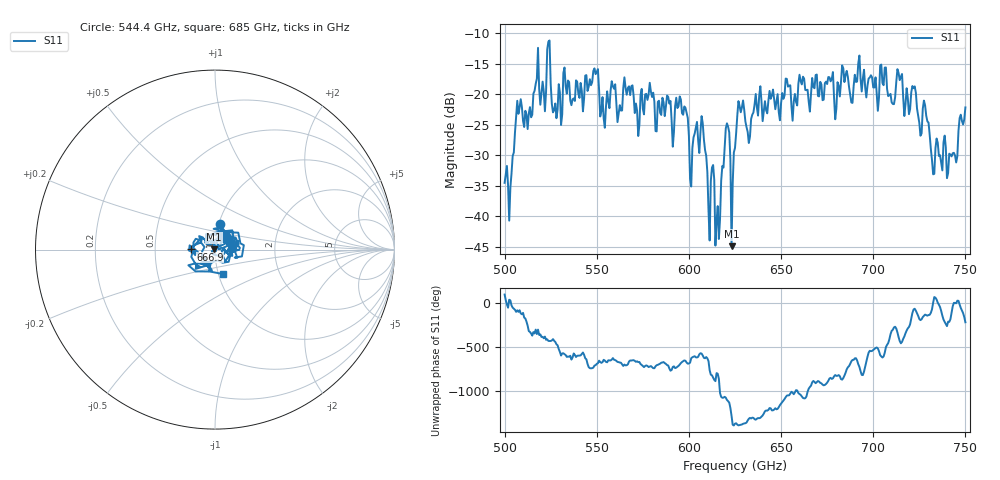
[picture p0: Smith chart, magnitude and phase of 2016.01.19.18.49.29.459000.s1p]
!Created with skrf (http://scikit-rf.org).
# GHz S RI R 50.0
!freq ReS11 ImS11
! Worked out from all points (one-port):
!   401 points, 500 GHz to 750 GHz, reference 50 ohm
!   lowest |S11| = -44.9 dB at 623.1 GHz (marker M1), VSWR 1.01, Z = 49.5 + j0.176 ohm
!   |S11| at or under -10 dB: start of sweep to end of sweep
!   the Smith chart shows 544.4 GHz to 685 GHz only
!   S11 on the Smith chart (normalised r, x): 544.4 GHz: 1.01, +0.29; 666.9 GHz: 0.76, +0.00; 685 GHz: 1.05, -0.29
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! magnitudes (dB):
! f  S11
! 500 GHz  -34.5
! 503.1 GHz  -35.3
! 507.5 GHz  -23.2
! 513.8 GHz  -22.1
! 516.9 GHz  -18.3
! 523.8 GHz  -11.4
! 531.2 GHz  -23.3
! 544.4 GHz  -16.9
! 562.5 GHz  -21.8
! 593.8 GHz  -22.3
! 601.2 GHz  -35.1
! 607.5 GHz  -24.8
! 615.6 GHz  -38.4
! 620.6 GHz  -24.8
! 623.1 GHz  -44.9
! 625 GHz  -28.8
! 628.1 GHz  -23.0
! 631.9 GHz  -26.2
! 656.2 GHz  -24.4
! 666.9 GHz  -17.4
! 685 GHz  -16.9
! 687.5 GHz  -20.1
! 714.4 GHz  -17.7
! 718.8 GHz  -20.6
! 728.1 GHz  -21.8
! 732.5 GHz  -33.1
! 744.4 GHz  -30.1
! 750 GHz  -22.2
